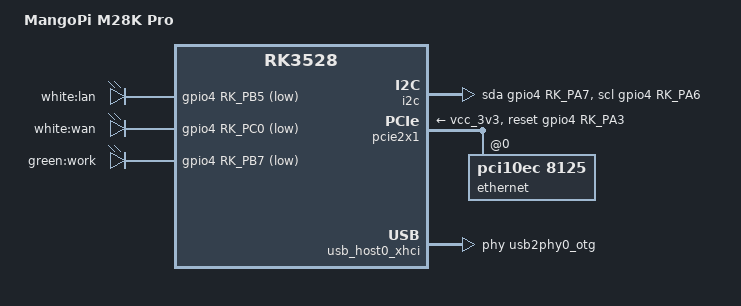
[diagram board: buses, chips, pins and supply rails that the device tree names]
// SPDX-License-Identifier: (GPL-2.0+ OR MIT)
// Copyright (c) 2024 AY <amadeus@jmu.edu.cn>

/dts-v1/;

#include "rk3528-mangopi-m28.dtsi"

/ {
	model = "MangoPi M28K Pro";
	compatible = "widora,mangopi-m28k-pro", "rockchip,rk3528";

	aliases {
		led-boot = &led_work;
		led-failsafe = &led_work;
		led-running = &led_work;
		led-upgrade = &led_work;
	};

	i2c {
		compatible = "i2c-gpio";
		scl-gpios = <&gpio4 RK_PA6 GPIO_ACTIVE_HIGH>;
		sda-gpios = <&gpio4 RK_PA7 GPIO_ACTIVE_HIGH>;
	};

	leds {
		compatible = "gpio-leds";
		pinctrl-names = "default";
		pinctrl-0 = <&lan_led_en>, <&wan_led_en>, <&work_led_en>;

		lan {
			label = "white:lan";
			gpios = <&gpio4 RK_PB5 GPIO_ACTIVE_LOW>;
		};

		wan {
			label = "white:wan";
			gpios = <&gpio4 RK_PC0 GPIO_ACTIVE_LOW>;
		};

		led_work: work {
			label = "green:work";
			gpios = <&gpio4 RK_PB7 GPIO_ACTIVE_LOW>;
		};
	};
};

&pcie2x1 {
	reset-gpios = <&gpio4 RK_PA3 GPIO_ACTIVE_HIGH>;
	vpcie3v3-supply = <&vcc_3v3>;
	status = "okay";

	bridge@0,0 {
		reg = <0x00000000 0 0 0 0>;
		#address-cells = <3>;
		#size-cells = <2>;
		ranges;

		ethernet@0,0 {
			compatible = "pci10ec,8125";
			reg = <0x000000 0 0 0 0>;
			led-data = <0 0 0x23f 0x3f>;
		};
	};
};

&usb_host0_xhci {
	maximum-speed = "high-speed";
	phys = <&usb2phy0_otg>;
	phy-names = "usb2-phy";
};
